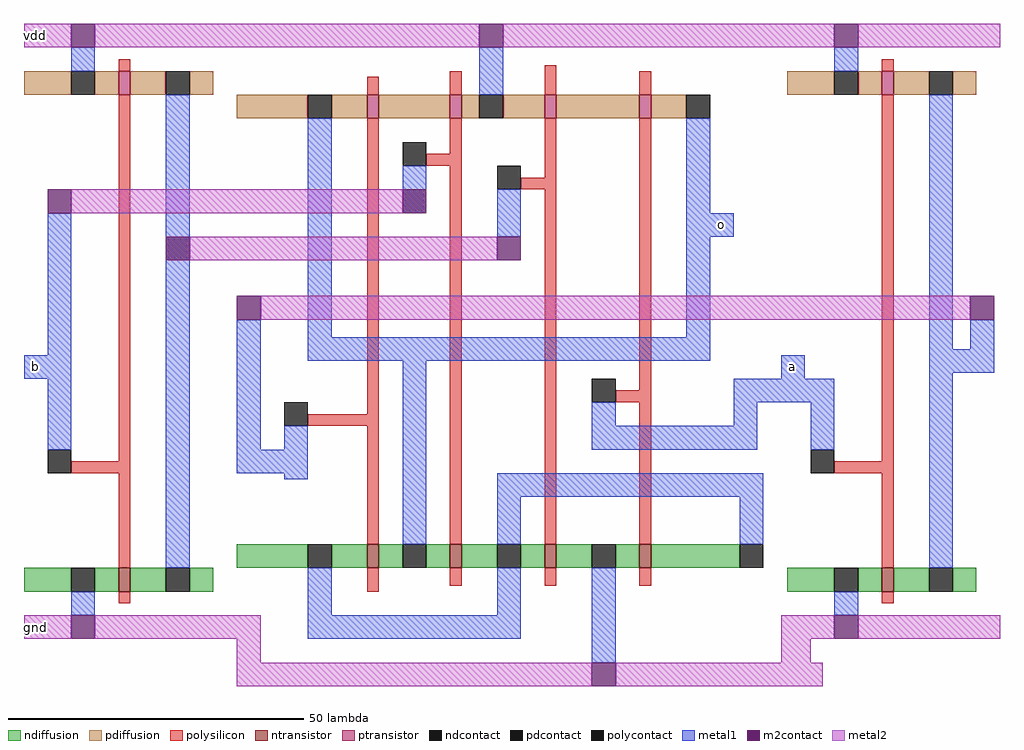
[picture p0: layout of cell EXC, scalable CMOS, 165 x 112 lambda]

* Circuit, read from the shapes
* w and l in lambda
.subckt EXC a b gnd o vdd
M1 not_0/o b gnd VSUBS nfet w=4 l=2
M2 o not_1/o n1 VSUBS nfet w=4 l=2
M3 n1 b o VSUBS nfet w=4 l=2
M4 gnd not_0/o n1 VSUBS nfet w=4 l=2
M5 n1 a gnd VSUBS nfet w=4 l=2
M6 not_1/o a gnd VSUBS nfet w=4 l=2
M7 not_0/o b vdd NWELL pfet w=4 l=2
M8 n2 not_1/o o NWELL pfet w=4 l=2
M9 vdd b n2 NWELL pfet w=4 l=2
M10 n3 not_0/o vdd NWELL pfet w=4 l=2
M11 o a n3 NWELL pfet w=4 l=2
M12 not_1/o a vdd NWELL pfet w=4 l=2
.ends

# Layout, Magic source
magic
tech scmos
<< metal1 >>
rect -32 56 -28 80
rect 44 76 48 80
rect 80 76 84 80
rect -36 52 -28 56
rect -32 48 -28 52
rect 0 40 4 62
rect 124 57 128 62
rect 92 52 96 56
rect 121 53 128 57
rect 84 48 101 52
rect 84 44 88 48
rect 64 43 88 44
rect 60 40 88 43
rect 0 36 8 40
<< metal2 >>
rect -36 108 -32 112
rect -28 80 28 84
rect -8 72 44 76
rect 4 62 124 66
rect -36 8 -32 12
rect 0 4 4 12
rect 92 4 97 12
<< m2contact >>
rect -32 80 -28 84
rect 28 80 32 84
rect -12 72 -8 76
rect 44 72 48 76
rect 0 62 4 66
rect 124 62 128 66
use not  not_0
transform 1 0 -40 0 1 8
box 8 0 40 104
use not  not_1
transform 1 0 89 0 1 8
box 8 0 40 104
use xor  xor_0
transform 1 0 36 0 1 8
box -36 -8 63 104
<< labels >>
rlabel metal1 -34 54 -34 54 3 b
rlabel metal1 82 78 82 78 1 o
rlabel metal1 94 54 94 54 1 a
rlabel metal2 -34 110 -34 110 4 vdd
rlabel metal2 -34 10 -34 10 3 gnd
<< end >>

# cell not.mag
magic
tech scmos
<< polysilicon >>
rect 20 96 22 98
rect 20 30 22 92
rect 12 28 22 30
rect 20 12 22 28
rect 20 6 22 8
<< ndiffusion >>
rect 4 8 12 12
rect 16 8 20 12
rect 22 8 28 12
rect 32 8 36 12
<< pdiffusion >>
rect 4 92 12 96
rect 16 92 20 96
rect 22 92 28 96
rect 32 92 36 96
<< metal1 >>
rect 12 96 16 100
rect 8 32 12 44
rect 28 12 32 92
rect 12 4 16 8
<< metal2 >>
rect 4 100 12 104
rect 16 100 40 104
rect 4 0 12 4
rect 16 0 40 4
<< ntransistor >>
rect 20 8 22 12
<< ptransistor >>
rect 20 92 22 96
<< polycontact >>
rect 8 28 12 32
<< ndcontact >>
rect 12 8 16 12
rect 28 8 32 12
<< pdcontact >>
rect 12 92 16 96
rect 28 92 32 96
<< m2contact >>
rect 12 100 16 104
rect 12 0 16 4
<< labels >>
rlabel metal2 6 2 6 2 2 gnd
rlabel metal2 6 102 6 102 4 vdd
rlabel polysilicon 21 64 21 64 1 i
rlabel metal1 30 63 30 63 1 o
<< end >>

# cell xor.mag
magic
tech scmos
<< polysilicon >>
rect -14 92 -12 95
rect 0 92 2 96
rect 16 92 18 97
rect 32 92 34 96
rect -14 38 -12 88
rect 0 82 2 88
rect -4 80 2 82
rect -24 36 -12 38
rect -14 16 -12 36
rect 0 16 2 80
rect 16 78 18 88
rect 12 76 18 78
rect 16 16 18 76
rect 32 42 34 88
rect 28 40 34 42
rect 32 16 34 40
rect -14 8 -12 12
rect 0 9 2 12
rect 16 9 18 12
rect 32 9 34 12
<< ndiffusion >>
rect -36 12 -24 16
rect -20 12 -14 16
rect -12 12 -8 16
rect -4 12 0 16
rect 2 12 8 16
rect 12 12 16 16
rect 18 12 24 16
rect 28 12 32 16
rect 34 12 49 16
<< pdiffusion >>
rect -36 88 -24 92
rect -20 88 -14 92
rect -12 88 0 92
rect 2 88 5 92
rect 9 88 16 92
rect 18 88 32 92
rect 34 88 40 92
<< metal1 >>
rect 5 92 9 100
rect -24 51 -20 88
rect -8 72 -4 80
rect 8 72 12 76
rect 40 51 44 88
rect -24 47 44 51
rect -28 27 -24 36
rect -8 16 -4 47
rect 24 35 28 40
rect 8 24 53 28
rect 8 16 12 24
rect 49 16 53 24
rect -24 4 -20 12
rect 8 4 12 12
rect -24 0 12 4
rect 24 -4 28 12
<< metal2 >>
rect -36 100 5 104
rect 9 100 61 104
rect -36 -8 24 -4
rect 28 -8 63 -4
<< ntransistor >>
rect -14 12 -12 16
rect 0 12 2 16
rect 16 12 18 16
rect 32 12 34 16
<< ptransistor >>
rect -14 88 -12 92
rect 0 88 2 92
rect 16 88 18 92
rect 32 88 34 92
<< polycontact >>
rect -28 36 -24 40
rect -8 80 -4 84
rect 8 76 12 80
rect 24 40 28 44
<< ndcontact >>
rect -24 12 -20 16
rect -8 12 -4 16
rect 8 12 12 16
rect 24 12 28 16
rect 49 12 53 16
<< pdcontact >>
rect -24 88 -20 92
rect 5 88 9 92
rect 40 88 44 92
<< m2contact >>
rect 5 100 9 104
rect 24 -8 28 -4
<< end >>
